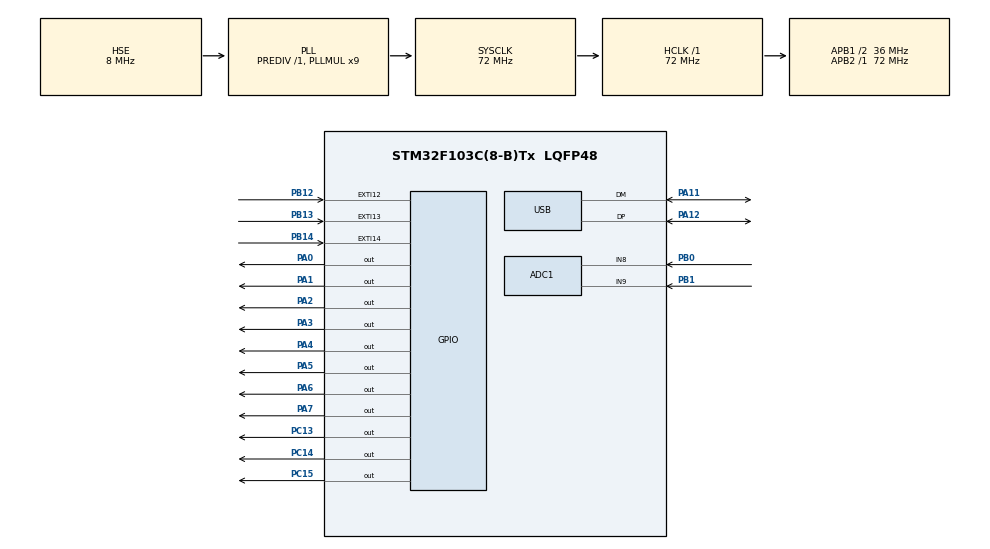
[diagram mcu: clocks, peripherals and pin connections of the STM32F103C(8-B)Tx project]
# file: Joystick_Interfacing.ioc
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ADC1.Channel-0\#ChannelRegularConversion=ADC_CHANNEL_8
ADC1.Channel-1\#ChannelRegularConversion=ADC_CHANNEL_9
ADC1.ContinuousConvMode=ENABLE
ADC1.NbrOfConversion=2
ADC1.NbrOfConversionFlag=1
ADC1.Rank-0\#ChannelRegularConversion=1
ADC1.Rank-1\#ChannelRegularConversion=2
ADC1.SamplingTime-0\#ChannelRegularConversion=ADC_SAMPLETIME_239CYCLES_5
ADC1.SamplingTime-1\#ChannelRegularConversion=ADC_SAMPLETIME_239CYCLES_5
ADC1.master=1
Dma.ADC1.0.Direction=DMA_PERIPH_TO_MEMORY
Dma.ADC1.0.Instance=DMA1_Channel1
Dma.ADC1.0.MemDataAlignment=DMA_MDATAALIGN_WORD
Dma.ADC1.0.MemInc=DMA_MINC_ENABLE
Dma.ADC1.0.Mode=DMA_CIRCULAR
Dma.ADC1.0.PeriphDataAlignment=DMA_PDATAALIGN_WORD
Dma.ADC1.0.PeriphInc=DMA_PINC_DISABLE
Dma.ADC1.0.Priority=DMA_PRIORITY_LOW
Dma.Request0=ADC1
Mcu.Family=STM32F1
Mcu.Name=STM32F103C(8-B)Tx
Mcu.Package=LQFP48
NVIC.DMA1_Channel1_IRQn=true\:0\:0\:false\:false\:true\:false\:true\:true
NVIC.EXTI15_10_IRQn=true\:0\:0\:false\:false\:true\:true\:true\:true
NVIC.PriorityGroup=NVIC_PRIORITYGROUP_4
NVIC.USB_LP_CAN1_RX0_IRQn=true\:0\:0\:false\:false\:true\:false\:true\:true
PA0-WKUP.GPIO_PuPd=GPIO_PULLUP
PA0-WKUP.Signal=GPIO_Output
PA1.GPIO_PuPd=GPIO_PULLUP
PA1.Signal=GPIO_Output
PA11.Mode=Device
PA11.Signal=USB_DM
PA12.Mode=Device
PA12.Signal=USB_DP
PA13.Mode=Serial_Wire
PA13.Signal=SYS_JTMS-SWDIO
PA14.Mode=Serial_Wire
PA14.Signal=SYS_JTCK-SWCLK
PA2.GPIO_PuPd=GPIO_PULLUP
PA2.Signal=GPIO_Output
PA3.GPIO_PuPd=GPIO_PULLUP
PA3.Signal=GPIO_Output
PA4.GPIO_PuPd=GPIO_PULLUP
PA4.Signal=GPIO_Output
PA5.GPIO_PuPd=GPIO_PULLUP
PA5.Signal=GPIO_Output
PA6.GPIO_PuPd=GPIO_PULLUP
PA6.Signal=GPIO_Output
PA7.GPIO_PuPd=GPIO_PULLUP
PA7.Signal=GPIO_Output
PB0.Signal=ADCx_IN8
PB1.Signal=ADCx_IN9
PB12.GPIO_ModeDefaultEXTI=GPIO_MODE_IT_FALLING
PB12.GPIO_PuPd=GPIO_PULLUP
PB12.Signal=GPXTI12
PB13.GPIO_ModeDefaultEXTI=GPIO_MODE_IT_FALLING
PB13.GPIO_PuPd=GPIO_PULLUP
PB13.Signal=GPXTI13
PB14.GPIO_ModeDefaultEXTI=GPIO_MODE_IT_FALLING
PB14.GPIO_PuPd=GPIO_PULLUP
PB14.Signal=GPXTI14
PC13-TAMPER-RTC.GPIO_PuPd=GPIO_PULLUP
PC13-TAMPER-RTC.PinState=GPIO_PIN_SET
PC13-TAMPER-RTC.Signal=GPIO_Output
PC14-OSC32_IN.GPIO_PuPd=GPIO_PULLUP
PC14-OSC32_IN.Signal=GPIO_Output
PC15-OSC32_OUT.GPIO_PuPd=GPIO_PULLUP
PC15-OSC32_OUT.Signal=GPIO_Output
PD0-OSC_IN.Mode=HSE-External-Oscillator
PD0-OSC_IN.Signal=RCC_OSC_IN
PD1-OSC_OUT.Mode=HSE-External-Oscillator
PD1-OSC_OUT.Signal=RCC_OSC_OUT
ProjectManager.HeapSize=0x200
ProjectManager.StackSize=0x400
ProjectManager.TargetToolchain=STM32CubeIDE
RCC.ADCPresc=RCC_ADCPCLK2_DIV6
RCC.AHBFreq_Value=72000000
RCC.APB1CLKDivider=RCC_HCLK_DIV2
RCC.APB1Freq_Value=36000000
RCC.APB1TimFreq_Value=72000000
RCC.APB2Freq_Value=72000000
RCC.APB2TimFreq_Value=72000000
RCC.HCLKFreq_Value=72000000
RCC.PLLMUL=RCC_PLL_MUL9
RCC.SYSCLKFreq_VALUE=72000000
RCC.SYSCLKSource=RCC_SYSCLKSOURCE_PLLCLK
RCC.USBFreq_Value=48000000
RCC.USBPrescaler=RCC_USBCLKSOURCE_PLL_DIV1_5
SH.ADCx_IN8.0=ADC1_IN8,IN8
SH.ADCx_IN9.0=ADC1_IN9,IN9
USB_DEVICE.CLASS_NAME_FS=HID
USB_DEVICE.PRODUCT_STRING_HID_FS=JoyStick Mouse
USB_DEVICE.VirtualMode=Hid
USB_DEVICE.VirtualModeFS=Hid_FS
VP_USB_DEVICE_VS_USB_DEVICE_HID_FS.Mode=HID_FS
board=custom

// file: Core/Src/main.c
/* USER CODE BEGIN Header */
/**
  ******************************************************************************
  * @file           : main.c
  * @brief          : Main program body
  ******************************************************************************
  * @attention
  *
  *
  * Copyright (c) 2024 STMicroelectronics.
  * All rights reserved.
  *
  * This software is licensed under terms that can be found in the LICENSE file
  * in the root directory of this software component.
  * If no LICENSE file comes with this software, it is provided AS-IS.
  *
  ******************************************************************************
  */
/* USER CODE END Header */
#include "main.h"
#include "usb_device.h"

/* USER CODE BEGIN Includes */
#include "usbd_hid.h"
#include "Functions.h"
#include "LCD.h"
/* USER CODE END Includes */

ADC_HandleTypeDef hadc1;
DMA_HandleTypeDef hdma_adc1;

void SystemClock_Config(void);
static void MX_GPIO_Init(void);
static void MX_DMA_Init(void);
static void MX_ADC1_Init(void);

/* USER CODE BEGIN 0 */

uint32_t VR[2]; // JoyStick [X,Y] ADC_Values
int16_t X_Y[2]; // JoyStick [X,Y] Mapped_Values

int8_t threshould =5; //Minmum Detictable movment
int8_t range=50;
int8_t center =24; //Joystick value when not moving
int16_t newxval=0;
int16_t newyval=0;

uint8_t Left_Click_Button_Flag=0;
uint8_t Right_Click_Button_Flag=0;

 void  Mapping_Values() //Switch From ADC Range [0,4095] -> Mouse Range [0,50]
 {
	 X_Y[0] = ( ( 50 * ( VR[0] ) ) / 4095) ;
	 X_Y[1] = ( ( 50 * ( VR[1] ) ) / 4095) ;
 }

/**********************USB Mouse Structure**********************************/

extern USBD_HandleTypeDef hUsbDeviceFS;

typedef struct
{
	uint8_t button;
	int8_t mouse_x;
	int8_t mouse_y;
	int8_t  wheel;

}mouseHID;
mouseHID mousehid={0,0,0,0};

uint8_t DPI=1,DPI_Flag=0;

void HAL_GPIO_EXTI_Callback(uint16_t GPIO_Pin)
  {

	  if(GPIO_Pin==GPIO_PIN_12)
	  {
		  Left_Click_Button_Flag=1;
	  }
	  else if(GPIO_Pin==GPIO_PIN_14)
	  {
		  Right_Click_Button_Flag=1;
	  }
	  else if (GPIO_Pin == GPIO_PIN_13)
	  {

		  		DPI_Flag++;
		  		if(DPI_Flag==3) //To wrap it back to zero
		  		{
		  			DPI_Flag=0;
		  		}
		  		switch ( DPI_Flag)
		  		{case 0:
		  			DPI=1;
		  			break;
		  		case 1:
		  			DPI=2;
		  			break;
		  		case 2:
		  			DPI=3;
		  			break;}

	  }

  }
void Clear_Lcd()
{
	  Data(' ');
	 Data(' ');
	Data(' ');
}

void Show_mapped_values()
{
	      Com(0x80);
		  Clear_Lcd();
		  Com(0x80);
		  Show_Num((X_Y[0]),0);
		  Com(0xc0);
		  Clear_Lcd();
		  Com(0xc0);
		  Show_Num((X_Y[1]),0);
}
/* USER CODE END 0 */

int main(void)
{

  /* MCU Configuration--------------------------------------------------------*/

  /* Reset of all peripherals, Initializes the Flash interface and the Systick. */
  HAL_Init();

  /* Configure the system clock */
  SystemClock_Config();

  /* Initialize all configured peripherals */
  MX_GPIO_Init();
  MX_DMA_Init();
  MX_ADC1_Init();
  MX_USB_DEVICE_Init();
  /* USER CODE BEGIN 2 */
  LCD_intialise();
  /* USER CODE END 2 */

  /* Infinite loop */
  /* USER CODE BEGIN WHILE */
  HAL_ADC_Start_DMA(&hadc1, VR, 2); //Satrt Converion
  while (1)
  {
    /* USER CODE END WHILE */

    /* USER CODE BEGIN 3 */

	  Mapping_Values();
	  Show_mapped_values();
	  newxval= X_Y[0] - center;
	  newyval= X_Y[1] - center;

	  	     if ( (newxval >= threshould ) || (newxval <= (-1*threshould)) )
	  	     {
	  	  	   mousehid.mouse_x= (newxval)*DPI;
	  	     }
	  	     else
	  	     {
	  	  	   mousehid.mouse_x=0;
	  	     }
	        if ( (newyval >= threshould ) || (newyval <= (-1*threshould)) )
	  	     {
	  	  	   mousehid.mouse_y= (newyval)*DPI;
	  	     }
	  	     else
	  	     {
	  	  	   mousehid.mouse_y=0;
	  	     }

	  	     if(Left_Click_Button_Flag==1)
	  	     {
	  	  	   mousehid.button=1; //00000001
	  	  	   USBD_HID_SendReport( &hUsbDeviceFS,&mousehid, sizeof(mousehid));
	  	  	   HAL_Delay(50);
	  	  	   mousehid.button=0;
	  	  	   USBD_HID_SendReport( &hUsbDeviceFS,&mousehid, sizeof(mousehid));
	  	  	   Left_Click_Button_Flag=0;
	  	     }
	  	    if(Right_Click_Button_Flag==1)
	  	    {
	  	    	   mousehid.button =(1<<1); //00000010
	  	    	   USBD_HID_SendReport( &hUsbDeviceFS,&mousehid, sizeof(mousehid));
	  	    	   HAL_Delay(50);
	  	    	   mousehid.button=0;
	  	    	   USBD_HID_SendReport( &hUsbDeviceFS,&mousehid, sizeof(mousehid));
	  	    	   Right_Click_Button_Flag=0;
	  	    }

	  	     USBD_HID_SendReport( &hUsbDeviceFS,&mousehid, sizeof(mousehid) );
  }
  /* USER CODE END 3 */
}

void SystemClock_Config(void)
{
  RCC_OscInitTypeDef RCC_OscInitStruct = {0};
  RCC_ClkInitTypeDef RCC_ClkInitStruct = {0};
  RCC_PeriphCLKInitTypeDef PeriphClkInit = {0};

  /** Initializes the RCC Oscillators according to the specified parameters
  * in the RCC_OscInitTypeDef structure.
  */
  RCC_OscInitStruct.OscillatorType = RCC_OSCILLATORTYPE_HSE;
  RCC_OscInitStruct.HSEState = RCC_HSE_ON;
  RCC_OscInitStruct.HSEPredivValue = RCC_HSE_PREDIV_DIV1;
  RCC_OscInitStruct.HSIState = RCC_HSI_ON;
  RCC_OscInitStruct.PLL.PLLState = RCC_PLL_ON;
  RCC_OscInitStruct.PLL.PLLSource = RCC_PLLSOURCE_HSE;
  RCC_OscInitStruct.PLL.PLLMUL = RCC_PLL_MUL9;
  if (HAL_RCC_OscConfig(&RCC_OscInitStruct) != HAL_OK)
  {
    Error_Handler();
  }

  /** Initializes the CPU, AHB and APB buses clocks
  */
  RCC_ClkInitStruct.ClockType = RCC_CLOCKTYPE_HCLK|RCC_CLOCKTYPE_SYSCLK
                              |RCC_CLOCKTYPE_PCLK1|RCC_CLOCKTYPE_PCLK2;
  RCC_ClkInitStruct.SYSCLKSource = RCC_SYSCLKSOURCE_PLLCLK;
  RCC_ClkInitStruct.AHBCLKDivider = RCC_SYSCLK_DIV1;
  RCC_ClkInitStruct.APB1CLKDivider = RCC_HCLK_DIV2;
  RCC_ClkInitStruct.APB2CLKDivider = RCC_HCLK_DIV1;

  if (HAL_RCC_ClockConfig(&RCC_ClkInitStruct, FLASH_LATENCY_2) != HAL_OK)
  {
    Error_Handler();
  }
  PeriphClkInit.PeriphClockSelection = RCC_PERIPHCLK_ADC|RCC_PERIPHCLK_USB;
  PeriphClkInit.AdcClockSelection = RCC_ADCPCLK2_DIV6;
  PeriphClkInit.UsbClockSelection = RCC_USBCLKSOURCE_PLL_DIV1_5;
  if (HAL_RCCEx_PeriphCLKConfig(&PeriphClkInit) != HAL_OK)
  {
    Error_Handler();
  }
}

static void MX_ADC1_Init(void)
{

  ADC_ChannelConfTypeDef sConfig = {0};

  /** Common config
  */
  hadc1.Instance = ADC1;
  hadc1.Init.ScanConvMode = ADC_SCAN_ENABLE;
  hadc1.Init.ContinuousConvMode = ENABLE;
  hadc1.Init.DiscontinuousConvMode = DISABLE;
  hadc1.Init.ExternalTrigConv = ADC_SOFTWARE_START;
  hadc1.Init.DataAlign = ADC_DATAALIGN_RIGHT;
  hadc1.Init.NbrOfConversion = 2;
  if (HAL_ADC_Init(&hadc1) != HAL_OK)
  {
    Error_Handler();
  }

  /** Configure Regular Channel
  */
  sConfig.Channel = ADC_CHANNEL_8;
  sConfig.Rank = ADC_REGULAR_RANK_1;
  sConfig.SamplingTime = ADC_SAMPLETIME_239CYCLES_5;
  if (HAL_ADC_ConfigChannel(&hadc1, &sConfig) != HAL_OK)
  {
    Error_Handler();
  }

  /** Configure Regular Channel
  */
  sConfig.Channel = ADC_CHANNEL_9;
  sConfig.Rank = ADC_REGULAR_RANK_2;
  if (HAL_ADC_ConfigChannel(&hadc1, &sConfig) != HAL_OK)
  {
    Error_Handler();
  }

}

static void MX_DMA_Init(void)
{

  /* DMA controller clock enable */
  __HAL_RCC_DMA1_CLK_ENABLE();

  /* DMA interrupt init */
  /* DMA1_Channel1_IRQn interrupt configuration */
  HAL_NVIC_SetPriority(DMA1_Channel1_IRQn, 0, 0);
  HAL_NVIC_EnableIRQ(DMA1_Channel1_IRQn);

}

static void MX_GPIO_Init(void)
{
  GPIO_InitTypeDef GPIO_InitStruct = {0};

  /* GPIO Ports Clock Enable */
  __HAL_RCC_GPIOC_CLK_ENABLE();
  __HAL_RCC_GPIOD_CLK_ENABLE();
  __HAL_RCC_GPIOA_CLK_ENABLE();
  __HAL_RCC_GPIOB_CLK_ENABLE();

  /*Configure GPIO pin Output Level */
  HAL_GPIO_WritePin(GPIOC, GPIO_PIN_13, GPIO_PIN_SET);

  /*Configure GPIO pin Output Level */
  HAL_GPIO_WritePin(GPIOC, GPIO_PIN_14|GPIO_PIN_15, GPIO_PIN_RESET);

  /*Configure GPIO pin Output Level */
  HAL_GPIO_WritePin(GPIOA, GPIO_PIN_0|GPIO_PIN_1|GPIO_PIN_2|GPIO_PIN_3
                          |GPIO_PIN_4|GPIO_PIN_5|GPIO_PIN_6|GPIO_PIN_7, GPIO_PIN_RESET);

  /*Configure GPIO pins : PC13 PC14 PC15 */
  GPIO_InitStruct.Pin = GPIO_PIN_13|GPIO_PIN_14|GPIO_PIN_15;
  GPIO_InitStruct.Mode = GPIO_MODE_OUTPUT_PP;
  GPIO_InitStruct.Pull = GPIO_PULLUP;
  GPIO_InitStruct.Speed = GPIO_SPEED_FREQ_LOW;
  HAL_GPIO_Init(GPIOC, &GPIO_InitStruct);

  /*Configure GPIO pins : PA0 PA1 PA2 PA3
                           PA4 PA5 PA6 PA7 */
  GPIO_InitStruct.Pin = GPIO_PIN_0|GPIO_PIN_1|GPIO_PIN_2|GPIO_PIN_3
                          |GPIO_PIN_4|GPIO_PIN_5|GPIO_PIN_6|GPIO_PIN_7;
  GPIO_InitStruct.Mode = GPIO_MODE_OUTPUT_PP;
  GPIO_InitStruct.Pull = GPIO_PULLUP;
  GPIO_InitStruct.Speed = GPIO_SPEED_FREQ_LOW;
  HAL_GPIO_Init(GPIOA, &GPIO_InitStruct);

  /*Configure GPIO pins : PB12 PB13 PB14 */
  GPIO_InitStruct.Pin = GPIO_PIN_12|GPIO_PIN_13|GPIO_PIN_14;
  GPIO_InitStruct.Mode = GPIO_MODE_IT_FALLING;
  GPIO_InitStruct.Pull = GPIO_PULLUP;
  HAL_GPIO_Init(GPIOB, &GPIO_InitStruct);

  /* EXTI interrupt init*/
  HAL_NVIC_SetPriority(EXTI15_10_IRQn, 0, 0);
  HAL_NVIC_EnableIRQ(EXTI15_10_IRQn);

}

void Error_Handler(void)
{
  __disable_irq();
  while (1)
  {
  }
}
